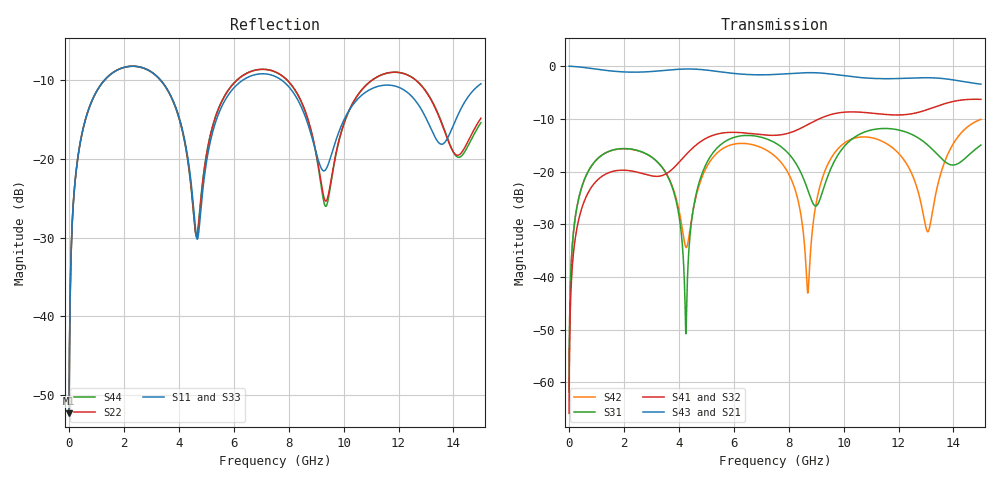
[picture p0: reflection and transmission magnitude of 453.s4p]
! Created with skrf 1.8.0 (http://scikit-rf.org).
# GHz S RI R 50.0
!freq ReS11 ImS11 ReS12 ImS12 ReS13 ImS13
! ReS14 ImS14
! ReS21 ImS21 ReS22 ImS22 ReS23 ImS23
! ReS24 ImS24
! ReS31 ImS31 ReS32 ImS32 ReS33 ImS33
! ReS34 ImS34
! ReS41 ImS41 ReS42 ImS42 ReS43 ImS43
! ReS44 ImS44
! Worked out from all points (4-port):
!   2499 points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, 5 MHz to 15 GHz, reference 50 ohm
!   strongest paths, dB at 5 MHz, 3.476 GHz, 7.19 GHz, 11.1 GHz, 15 GHz:
!     S43: 0.0, -0.8, -1.6, -2.3, -3.4
!     S21: 0.0, -0.8, -1.6, -2.3, -3.4
!     S41: -65.9, -20.6, -13.1, -9.0, -6.3
!     S32: -65.9, -20.6, -13.1, -9.0, -6.4
!     S31: -61.8, -19.9, -13.8, -12.0, -15.0
!     S42: -61.8, -19.8, -15.9, -13.7, -10.1
!   lowest |S11| = -52.4 dB at 5 MHz (marker M1), VSWR 1.00, Z = 50.2 + j0.146 ohm
!   |S11| at or under -10 dB: start of sweep to 1.286 GHz; 3.347 GHz to 6.316 GHz (2.97 GHz wide, 61.5 % of centre); 7.756 GHz to end of sweep
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0.005  0.00192 0.00145  0.998 -0.00374  9.91e-05 0.000807  -9.59e-05 -0.0005
       0.998 -0.00374  0.00192 0.00145  -9.59e-05 -0.0005  9.9e-05 0.000807
       9.91e-05 0.000807  -9.59e-05 -0.0005  0.00192 0.00145  0.998 -0.00374
       -9.59e-05 -0.0005  9.9e-05 0.000807  0.998 -0.00374  0.00192 0.00145
1.369321  0.2793 0.1715  0.526 -0.7409  0.1391 0.0612  -0.0955 -0.00203
          0.526 -0.7409  0.2799 0.1711  -0.0954 -0.0021  0.1378 0.0631
          0.1391 0.0612  -0.0954 -0.0021  0.2793 0.1714  0.5261 -0.7409
          -0.0955 -0.00203  0.1378 0.0631  0.5261 -0.7409  0.2797 0.1711
4.251772  0.0593 -0.1067  -0.8757 -0.3361  0.00293 -0.000519  -0.0465 0.1358
          -0.8757 -0.3361  0.0584 -0.1036  -0.0476 0.1354  -0.0178 -0.00717
          0.00293 -0.000519  -0.0476 0.1354  0.0581 -0.1056  -0.876 -0.336
          -0.0465 0.1358  -0.0178 -0.00717  -0.876 -0.336  0.0584 -0.102
5.49604  0.1421 0.1452  -0.7733 0.4269  0.1507 0.0932  0.1455 0.1776
         -0.7733 0.4269  0.1563 0.153  0.1441 0.1786  0.1034 0.1193
         0.1507 0.0932  0.1441 0.1786  0.1421 0.1472  -0.7731 0.4266
         0.1455 0.1776  0.1034 0.1193  -0.7731 0.4266  0.1575 0.1535
8.697374  0.1294 -0.1062  0.7038 0.5043  -0.0438 -0.0505  0.1538 -0.2322
          0.7038 0.5043  0.1124 -0.141  0.1566 -0.2303  -0.00654 -0.00258
          -0.0438 -0.0505  0.1566 -0.2303  0.1311 -0.103  0.703 0.5058
          0.1538 -0.2322  -0.00654 -0.00258  0.703 0.5058  0.1093 -0.1413
9.397666  0.087 0.0171  0.842 0.1059  -0.00174 0.0863  0.0297 -0.3368
          0.842 0.1059  0.055 0.00487  0.0336 -0.336  0.0158 0.1118
          -0.00174 0.0863  0.0336 -0.336  0.0903 0.0202  0.8417 0.108
          0.0297 -0.3368  0.0158 0.1118  0.8417 0.108  0.0511 0.00616
15  0.2877 0.0878  -0.6325 0.2312  0.1222 0.1297  0.2347 0.4227
    -0.6325 0.2312  0.1748 0.0496  0.2259 0.4243  0.2637 0.1666
    0.1222 0.1297  0.2259 0.4243  0.2922 0.0868  -0.6368 0.2217
    0.2347 0.4227  0.2637 0.1666  -0.6368 0.2217  0.163 0.049
